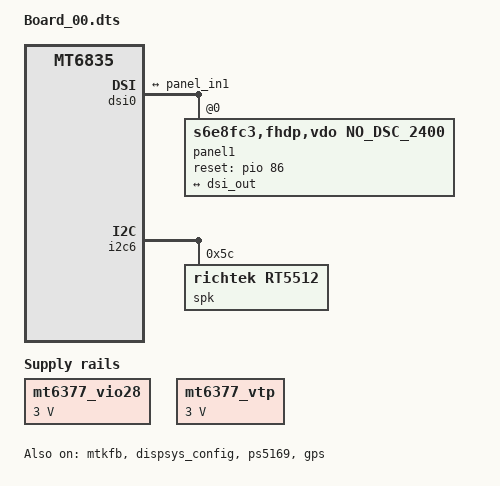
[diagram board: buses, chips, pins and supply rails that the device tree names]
// SPDX-License-Identifier: (GPL-2.0 OR MIT)
/*
 * Copyright (C) 2022 MediaTek Inc.
 */

#include <dt-bindings/interrupt-controller/arm-gic.h>
#include <dt-bindings/interrupt-controller/irq.h>
#include <dt-bindings/phy/phy.h>
#include <dt-bindings/pinctrl/mt6835-pinfunc.h>
#include "mediatek/mt6835_6377_6375fg.dtsi"
//#include "mediatek/cust_mt6835_camera.dtsi"
#include "mediatek/bat_setting/k6835v1_64_titan_angora_23u/battery_prop.dtsi"

&mtk_leds {
	compatible = "mediatek,i2c-leds";

	backlight {
		led_mode = <6>;
		gate_enable = <1>;
		pwm_config = <0 1 0 0 0>;
	};
};

&pio {
	mtkfb_pins_lcm_rst_out1_gpio: lcm_rst_out1_gpio {
		pins_cmd_dat {
			pinmux = <PINMUX_GPIO86__FUNC_GPIO86>;
			slew-rate = <1>;
			output-high;
		};
	};

	mtkfb_pins_lcm_rst_out0_gpio: lcm_rst_out0_gpio {
		pins_cmd_dat {
			pinmux = <PINMUX_GPIO86__FUNC_GPIO86>;
			slew-rate = <1>;
			output-low;
		};
	};

	mtkfb_pins_lcm_dsi_te: lcm_dsi_te {
		pins_cmd_dat {
			pinmux = <PINMUX_GPIO85__FUNC_DSI_TE>;
		};
	};
};

&mtkfb {
	pinctrl-names = "lcm_rst_out1_gpio", "lcm_rst_out0_gpio";
	pinctrl-0 = <&mtkfb_pins_lcm_rst_out1_gpio>;
	pinctrl-1 = <&mtkfb_pins_lcm_rst_out0_gpio>;
	status = "okay";
};

&dispsys_config {
	pinctrl-names =
		"lcm_rst_out1_gpio", "lcm_rst_out0_gpio",
		"mode_te_te";
	pinctrl-0 = <&mtkfb_pins_lcm_rst_out1_gpio>;
	pinctrl-1 = <&mtkfb_pins_lcm_rst_out0_gpio>;
	pinctrl-2 = <&mtkfb_pins_lcm_dsi_te>;
	status = "okay";
};

&mt6377_vio28 {
	regulator-min-microvolt = <3000000>;
	regulator-max-microvolt = <3000000>;
};

&mt6377_vtp {
	regulator-min-microvolt = <3000000>;
	regulator-max-microvolt = <3000000>;
};

&dsi0 {
	status = "okay";
	#address-cells = <1>;
	#size-cells = <0>;
	switch-fps = <90>;
	switch-mode = "vfp";
	panel1@0 {
		compatible = "s6e8fc3,fhdp,vdo,no_dsc_2400";
		reg = <0>;
		reset-gpios = <&pio 86 0>;
//		lcd-3p0-en-gpios = <&pio 119 0>;
		pinctrl-names = "default";
		port {
			panel_in1: endpoint {
				remote-endpoint = <&dsi_out>;
			};
		};
	};
	ports {
		port {
			dsi_out: endpoint {
				remote-endpoint = <&panel_in1>;
			};
		};
	};
};

/* usb typec mux start */
&pio {
	sel_up: sel_high {
		pins_cmd_dat {
			pinmux = <PINMUX_GPIO54__FUNC_GPIO54>;
			output-high;
		};
	};

	sel_down: sel_low  {
		pins_cmd_dat {
			pinmux = <PINMUX_GPIO54__FUNC_GPIO54>;
			output-low;
		};
	};

	sw_enable: sw_enable {
		pins_cmd_dat {
			pinmux = <PINMUX_GPIO30__FUNC_GPIO30>;
			output-high;
		};
	};

	sw_disable: sw_disable {
		pins_cmd_dat {
			pinmux = <PINMUX_GPIO30__FUNC_GPIO30>;
			output-high;
		};
	};

	ps_enable: ps_enable {
		pins_cmd_dat {
			pinmux = <PINMUX_GPIO141__FUNC_GPIO141>;
			output-low;
		};
	};

	ps_disable: ps_disable {
		pins_cmd_dat {
			pinmux = <PINMUX_GPIO141__FUNC_GPIO141>;
			output-low;
		};
	};
};

&ps5169 {
	pinctrl-names = "enable", "disable";
	pinctrl-0 = <&ps_enable>;
	pinctrl-1 = <&ps_disable>;
	status = "okay";
};

&fusb304 {
	pinctrl-names = "sel_up", "sel_down",
		"enable", "disable";
	pinctrl-0 = <&sel_up>;
	pinctrl-1 = <&sel_down>;
	pinctrl-2 = <&sw_enable>;
	pinctrl-3 = <&sw_disable>;
	status = "disabled";
};

&mt6375_typec {
	port {
		tcpc_typec_usb: endpoint@0 {
			remote-endpoint = <&ssusb_mux>;
		};
	};
};

&typec_mux_switch {
	orientation-switch;
	mode-switch;
	accessory;
	port {
		ssusb_mux: endpoint@0 {
			remote-endpoint = <&tcpc_typec_usb>;
		};
	};
};
/* usb typec mux end*/

/* GPS GPIO standardization start */
&pio {
	gps_pins_default: gps_default {
	};
	gps_l1_lna_pins_ol: gps_l1_lna@0 {
		pins_cmd_dat {
			pinmux = <PINMUX_GPIO36__FUNC_GPIO36>;
			output-low;
		};
	};
	gps_l1_lna_pins_dsp_ctrl: gps_l1_lna@1 {
		pins_cmd_dat {
			pinmux = <PINMUX_GPIO36__FUNC_GPS_L1_ELNA_EN>;
		};
	};
	gps_l1_lna_pins_oh: gps_l1_lna@2 {
		pins_cmd_dat {
			pinmux = <PINMUX_GPIO36__FUNC_GPIO36>;
			output-high;
		};
	};
};

&gps {
	pinctrl-names = "default",
		"gps_l1_lna_disable",
		"gps_l1_lna_dsp_ctrl",
		"gps_l1_lna_enable";
	pinctrl-0 = <&gps_pins_default>;
	pinctrl-1 = <&gps_l1_lna_pins_ol>;
	pinctrl-2 = <&gps_l1_lna_pins_dsp_ctrl>;
	pinctrl-3 = <&gps_l1_lna_pins_oh>;
	status = "okay";
};
/* GPS GPIO standardization end */

//#include "mediatek/cust_mt6835_camera_6377_v4l2.dtsi"
//#include "mediatek/k6835v1_64_titan_angora_23u/cust_touch_gt9895_1080_2400.dtsi"

&pdc {
	pd_vbus_upper_bound = <12000000>;
};

&mt6375 {
	interrupts = <10 IRQ_TYPE_LEVEL_LOW>;
};

&charger{
	enable-vbat-mon = <0>;
};

&lk_charger {
	/* ALPS07387291 Power off when rebooting at low voltage */
	boot_battery_voltage = <3380000>;
};

&i2c6 {
	spk: speaker_amp@5c {
		compatible = "richtek,rt5512";
		#sound-dai-cells = <0>;
		reg = <0x5c>;
		status = "okay";
		sound-name-prefix = "Left";
	};
};

&sound {
	mediatek,spk-i2s = <3 0>;
	mediatek,speaker-codec {
		sound-dai = <&spk>;
	};
};

&accdet {
	headset-mode-setting = <0x500 0x500 1 0x1f0
				0x2000 0x800 0x2000 0x44
				0x0 0x7
				0xe 0x9 0x9 0xd 0xe>;
	no-use-comparator = <1>;
	/*min_3pole--max_3pole--min_4pole--max_4pole--vol_bias*/
	headset-vol-threshold = <0 590 591 2000 2600>;
	headset-key-mode = <1>;
	/*0--MD_MAX--UP_MAX--DW_MAX*/
	headset-three-key-threshold = <0 163 278 501>;
	/*0--MD_MAX--VOICE_MAX--UP_MAX--DW_MAX*/
	headset-four-key-threshold = <0 163 196 278 501>;

	/* moisture HW mode config start. Enable moisture detection or not */
	/* default use HW mode for moisture detection */
	moisture-detect-enable = <1>;
	/* enable eint detection mode, if moisture detection enable */
	/* eint_detect_mode = moisture_detect_mode;otherwise, select */
	/* eint_detect_mode = 4 as DEFAULT */
	eint-detect-mode = <6>;
	/* enable moisture detection mode, if moisture detection enable */
	/* eint_detect_mode = moisture_detect_mode */
	moisture-detect-mode = <6>;
	/* select 0: 2.8V; 1: 2.4V; 2: 2V; 3: VTH=MVTH(VTH2) */
	moisture-comp-vth = <1>;
	/* vref2 voltage for different water impedance */
	moisture-comp-vref2 = <0>;
	/* moisture HW mode config end */
	/* moisture SW mode config start, use external resister or not. */
	/* DEFAULT NOT NEED */
	moisture-use-ext-res = <0>;
	/* moisture external resister ohm, SW mode by auxadc */
	moisture-external-r = <2000000>;
	/* moisture internal resister ohm, SW mode by auxadc */
	moisture-internal-r = <47000>;
	/* moisture of water resister ohm, SW mode by auxadc*/
	moisture-water-r = <10000>;
	/* moisture SW mode config end */
};

/*svp start*/
&mtee_svp {
	mtee: MTEE {
		compatible = "mediatek,mtk_svp_on_mtee_support";
	};

	svp: SecureVideoPath {
		compatible = "mediatek,mtk_sec_video_path_support";
	};
};
/*svp end*/

#include "mediatek/k6835v1_64_titan_angora_23u/cust_msdc_titan_angora_23u.dtsi"
//#include "mediatek/k6835v1_64_titan_angora_23u/gpio00.dtsi"
/*End of this file, DO NOT ADD ANYTHING HERE*/
